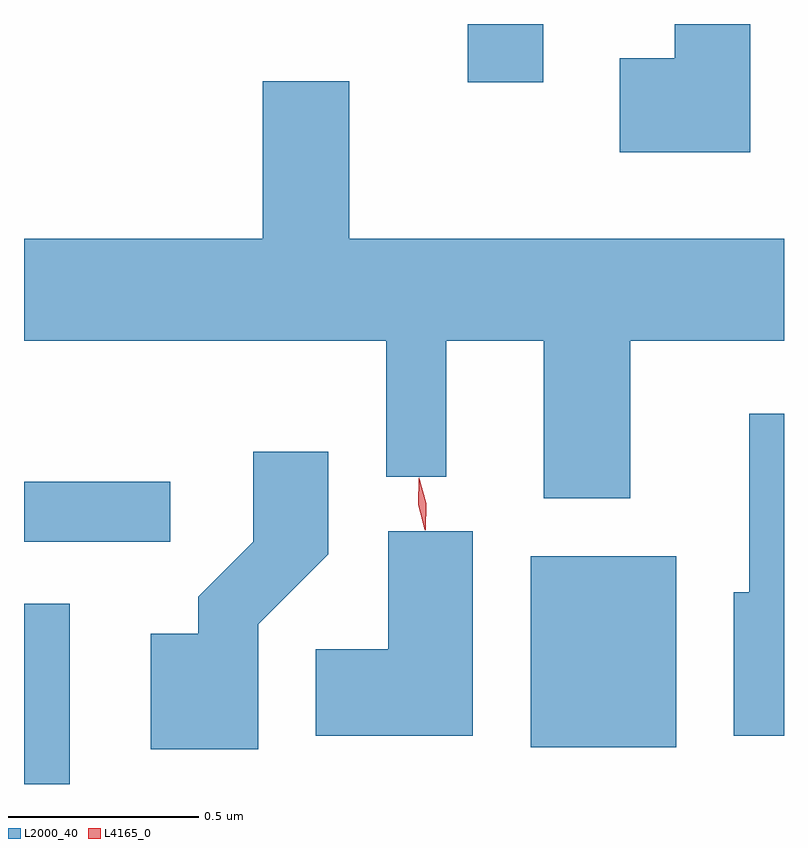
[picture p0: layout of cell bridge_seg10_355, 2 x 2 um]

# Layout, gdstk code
import gdstk
lib = gdstk.Library(unit=1e-6, precision=1e-09)
def R(c, l, rs):  # rectangles x0, y0, x1, y1
    for r in rs: c.add(gdstk.rectangle(r[:2], r[2:], *l))
def P(c, l, *ps):  # polygons
    for p in ps: c.add(gdstk.Polygon(p, *l))
L2000_40 = (2000, 40)
L4165_0 = (4165, 0)

bridge_seg10_355 = lib.new_cell('bridge_seg10_355')
R(bridge_seg10_355, L2000_40, [(1341.713,2154.929,1341.834,2155.404), (1343.046,2155.026,1343.429,2155.529), (1341.713,2155.566,1342.098,2155.724), (1342.881,2156.776,1343.079,2156.929)])
P(bridge_seg10_355, L2000_40, [(1343.624,2156.929),(1343.426,2156.929),(1343.426,2156.839),(1343.281,2156.839),(1343.281,2156.591),(1343.624,2156.591)],
  [(1343.309,2156.096),(1343.713,2156.096),(1343.713,2156.364),(1342.569,2156.364),(1342.569,2156.779),(1342.341,2156.779),(1342.341,2156.364),(1341.713,2156.364),(1341.713,2156.096),(1342.666,2156.096),(1342.666,2155.738),(1342.824,2155.738),(1342.824,2156.096),(1343.081,2156.096),(1343.081,2155.681),(1343.309,2155.681)],
  [(1343.713,2155.904),(1343.621,2155.904),(1343.621,2155.434),(1343.581,2155.434),(1343.581,2155.056),(1343.713,2155.056)],
  [(1342.329,2155.349),(1342.514,2155.534),(1342.514,2155.804),(1342.316,2155.804),(1342.316,2155.567),(1342.171,2155.422),(1342.171,2155.324),(1342.046,2155.324),(1342.046,2155.021),(1342.329,2155.021)],
  [(1342.894,2155.594),(1342.671,2155.594),(1342.671,2155.284),(1342.481,2155.284),(1342.481,2155.056),(1342.894,2155.056)])
P(bridge_seg10_355, L4165_0, [(1342.769,2155.597),(1342.768,2155.598),(1342.751,2155.665),(1342.752,2155.734),(1342.753,2155.735),(1342.753,2155.734),(1342.771,2155.668),(1342.77,2155.598)],
  [(1342.767,2155.6),(1342.751,2155.664),(1342.753,2155.731),(1342.753,2155.731),(1342.754,2155.731),(1342.77,2155.667),(1342.768,2155.6),(1342.768,2155.6)])

lib.write_gds('bridge_seg10_355.gds')
